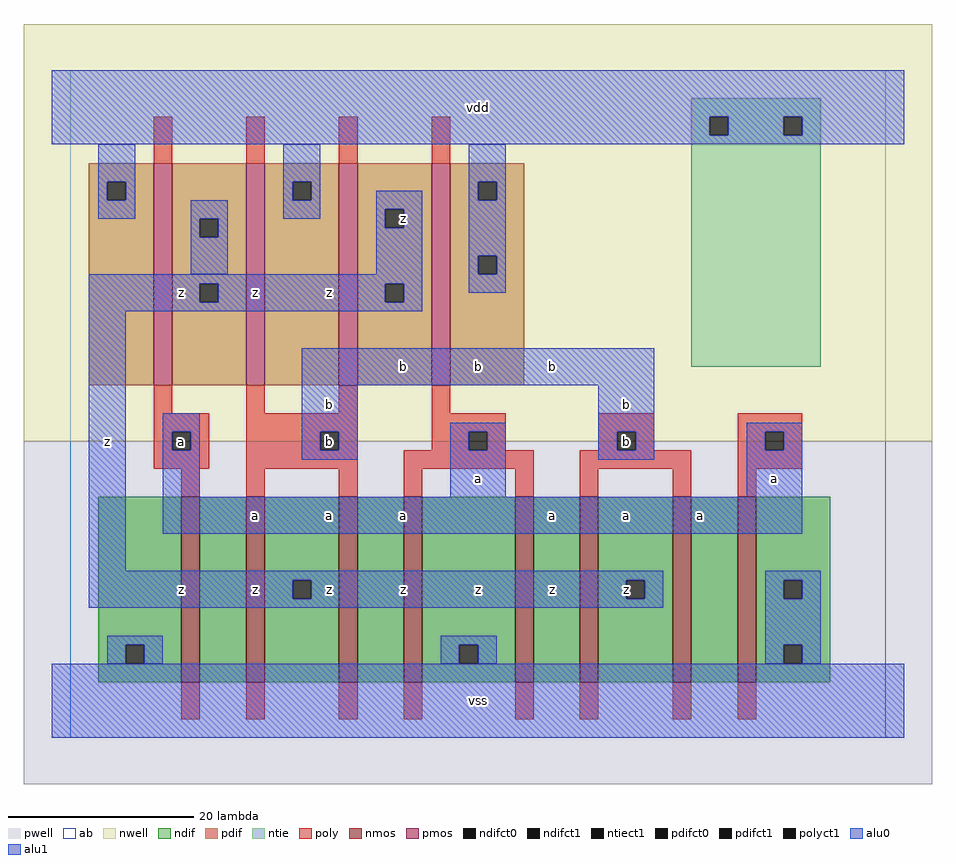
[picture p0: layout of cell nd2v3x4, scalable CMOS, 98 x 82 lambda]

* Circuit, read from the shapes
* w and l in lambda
.subckt nd2v3x4 a b vdd vss z
M1 n1 a vss VSUBS nfet w=20 l=2
M2 z b n1 VSUBS nfet w=20 l=2
M3 n2 b z VSUBS nfet w=20 l=2
M4 vss a n2 VSUBS nfet w=20 l=2
M5 n3 a vss VSUBS nfet w=20 l=2
M6 z b n3 VSUBS nfet w=20 l=2
M7 n4 b z VSUBS nfet w=20 l=2
M8 vss a n4 VSUBS nfet w=20 l=2
M9 z a vdd vdd pfet w=24 l=2 m=2
M10 vdd b z vdd pfet w=24 l=2 m=2
.ends

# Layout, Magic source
magic
tech scmos
<< ab >>
rect 0 0 88 72
<< nwell >>
rect -5 32 93 77
<< pwell >>
rect -5 -5 93 32
<< poly >>
rect 9 62 11 67
rect 19 62 21 67
rect 29 62 31 67
rect 39 62 41 67
rect 9 35 11 38
rect 19 35 21 38
rect 29 35 31 38
rect 9 33 15 35
rect 9 31 11 33
rect 13 31 15 33
rect 9 29 15 31
rect 19 33 31 35
rect 19 31 27 33
rect 29 31 31 33
rect 39 35 41 38
rect 39 33 47 35
rect 39 31 43 33
rect 45 31 47 33
rect 57 33 63 35
rect 57 31 59 33
rect 61 31 63 33
rect 72 33 79 35
rect 72 31 75 33
rect 77 31 79 33
rect 19 29 31 31
rect 12 26 14 29
rect 19 26 21 29
rect 29 26 31 29
rect 36 29 50 31
rect 36 26 38 29
rect 48 26 50 29
rect 55 29 67 31
rect 55 26 57 29
rect 65 26 67 29
rect 72 29 79 31
rect 72 26 74 29
rect 12 2 14 6
rect 19 2 21 6
rect 29 2 31 6
rect 36 2 38 6
rect 48 2 50 6
rect 55 2 57 6
rect 65 2 67 6
rect 72 2 74 6
<< ndif >>
rect 3 10 12 26
rect 3 8 6 10
rect 8 8 12 10
rect 3 6 12 8
rect 14 6 19 26
rect 21 17 29 26
rect 21 15 24 17
rect 26 15 29 17
rect 21 6 29 15
rect 31 6 36 26
rect 38 10 48 26
rect 38 8 42 10
rect 44 8 48 10
rect 38 6 48 8
rect 50 6 55 26
rect 57 17 65 26
rect 57 15 60 17
rect 62 15 65 17
rect 57 6 65 15
rect 67 6 72 26
rect 74 17 82 26
rect 74 15 77 17
rect 79 15 82 17
rect 74 10 82 15
rect 74 8 77 10
rect 79 8 82 10
rect 74 6 82 8
<< pdif >>
rect 2 60 9 62
rect 2 58 4 60
rect 6 58 9 60
rect 2 38 9 58
rect 11 56 19 62
rect 11 54 14 56
rect 16 54 19 56
rect 11 49 19 54
rect 11 47 14 49
rect 16 47 19 49
rect 11 38 19 47
rect 21 60 29 62
rect 21 58 24 60
rect 26 58 29 60
rect 21 38 29 58
rect 31 57 39 62
rect 31 55 34 57
rect 36 55 39 57
rect 31 49 39 55
rect 31 47 34 49
rect 36 47 39 49
rect 31 38 39 47
rect 41 60 49 62
rect 41 58 44 60
rect 46 58 49 60
rect 41 52 49 58
rect 41 50 44 52
rect 46 50 49 52
rect 41 38 49 50
<< alu1 >>
rect -2 67 90 72
rect -2 65 69 67
rect 71 65 77 67
rect 79 65 90 67
rect -2 64 90 65
rect 33 57 38 59
rect 33 55 34 57
rect 36 55 38 57
rect 33 50 38 55
rect 2 49 38 50
rect 2 47 14 49
rect 16 47 34 49
rect 36 47 38 49
rect 2 46 38 47
rect 2 18 6 46
rect 25 38 63 42
rect 10 33 14 35
rect 10 31 11 33
rect 13 31 14 33
rect 10 26 14 31
rect 25 33 31 38
rect 25 31 27 33
rect 29 31 31 33
rect 25 30 31 31
rect 41 33 47 34
rect 41 31 43 33
rect 45 31 47 33
rect 41 26 47 31
rect 57 33 63 38
rect 57 31 59 33
rect 61 31 63 33
rect 57 30 63 31
rect 73 33 79 34
rect 73 31 75 33
rect 77 31 79 33
rect 73 26 79 31
rect 10 22 79 26
rect 2 17 64 18
rect 2 15 24 17
rect 26 15 60 17
rect 62 15 64 17
rect 2 14 64 15
rect -2 0 90 8
<< ntie >>
rect 67 67 81 69
rect 67 65 69 67
rect 71 65 77 67
rect 79 65 81 67
rect 67 40 81 65
<< nmos >>
rect 12 6 14 26
rect 19 6 21 26
rect 29 6 31 26
rect 36 6 38 26
rect 48 6 50 26
rect 55 6 57 26
rect 65 6 67 26
rect 72 6 74 26
<< pmos >>
rect 9 38 11 62
rect 19 38 21 62
rect 29 38 31 62
rect 39 38 41 62
<< polyct1 >>
rect 11 31 13 33
rect 27 31 29 33
rect 43 31 45 33
rect 59 31 61 33
rect 75 31 77 33
<< ndifct0 >>
rect 6 8 8 10
rect 42 8 44 10
rect 77 15 79 17
rect 77 8 79 10
<< ndifct1 >>
rect 24 15 26 17
rect 60 15 62 17
<< ntiect1 >>
rect 69 65 71 67
rect 77 65 79 67
<< pdifct0 >>
rect 4 58 6 60
rect 14 54 16 56
rect 24 58 26 60
rect 44 58 46 60
rect 44 50 46 52
<< pdifct1 >>
rect 14 47 16 49
rect 34 55 36 57
rect 34 47 36 49
<< alu0 >>
rect 3 60 7 64
rect 3 58 4 60
rect 6 58 7 60
rect 23 60 27 64
rect 23 58 24 60
rect 26 58 27 60
rect 43 60 47 64
rect 3 56 7 58
rect 13 56 17 58
rect 23 56 27 58
rect 13 54 14 56
rect 16 54 17 56
rect 13 50 17 54
rect 43 58 44 60
rect 46 58 47 60
rect 43 52 47 58
rect 43 50 44 52
rect 46 50 47 52
rect 43 48 47 50
rect 75 17 81 18
rect 75 15 77 17
rect 79 15 81 17
rect 4 10 10 11
rect 4 8 6 10
rect 8 8 10 10
rect 40 10 46 11
rect 40 8 42 10
rect 44 8 46 10
rect 75 10 81 15
rect 75 8 77 10
rect 79 8 81 10
<< labels >>
rlabel alu1 12 16 12 16 6 z
rlabel polyct1 12 32 12 32 6 a
rlabel alu1 4 32 4 32 6 z
rlabel alu1 12 48 12 48 6 z
rlabel alu1 20 16 20 16 6 z
rlabel alu1 28 16 28 16 6 z
rlabel alu1 20 24 20 24 6 a
rlabel alu1 28 24 28 24 6 a
rlabel polyct1 28 32 28 32 6 b
rlabel alu1 28 36 28 36 6 b
rlabel alu1 20 48 20 48 6 z
rlabel alu1 28 48 28 48 6 z
rlabel alu1 44 4 44 4 6 vss
rlabel alu1 44 16 44 16 6 z
rlabel alu1 36 16 36 16 6 z
rlabel alu1 36 24 36 24 6 a
rlabel alu1 44 28 44 28 6 a
rlabel alu1 36 40 36 40 6 b
rlabel alu1 44 40 44 40 6 b
rlabel alu1 36 56 36 56 6 z
rlabel alu1 44 68 44 68 6 vdd
rlabel alu1 60 16 60 16 6 z
rlabel alu1 52 16 52 16 6 z
rlabel alu1 52 24 52 24 6 a
rlabel alu1 60 24 60 24 6 a
rlabel alu1 68 24 68 24 6 a
rlabel polyct1 60 32 60 32 6 b
rlabel alu1 52 40 52 40 6 b
rlabel alu1 60 36 60 36 6 b
rlabel alu1 76 28 76 28 6 a
<< end >>
